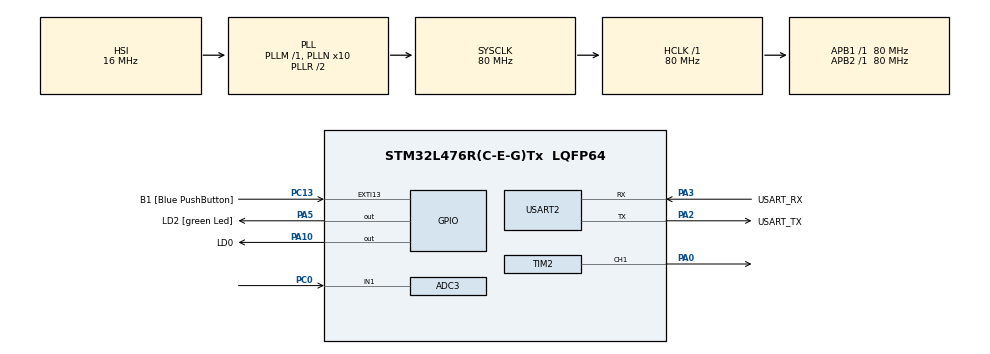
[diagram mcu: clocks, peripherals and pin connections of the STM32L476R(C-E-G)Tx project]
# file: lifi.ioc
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ADC3.Channel-0\#ChannelRegularConversion=ADC_CHANNEL_1
ADC3.NbrOfConversionFlag=1
ADC3.OffsetNumber-0\#ChannelRegularConversion=ADC_OFFSET_NONE
ADC3.Rank-0\#ChannelRegularConversion=1
ADC3.SamplingTime-0\#ChannelRegularConversion=ADC_SAMPLETIME_2CYCLES_5
Dma.Request0=USART2_TX
Dma.USART2_TX.0.Direction=DMA_MEMORY_TO_PERIPH
Dma.USART2_TX.0.Instance=DMA1_Channel7
Dma.USART2_TX.0.MemDataAlignment=DMA_MDATAALIGN_BYTE
Dma.USART2_TX.0.MemInc=DMA_MINC_ENABLE
Dma.USART2_TX.0.Mode=DMA_CIRCULAR
Dma.USART2_TX.0.PeriphDataAlignment=DMA_PDATAALIGN_BYTE
Dma.USART2_TX.0.PeriphInc=DMA_PINC_DISABLE
Dma.USART2_TX.0.Priority=DMA_PRIORITY_LOW
Mcu.Family=STM32L4
Mcu.Name=STM32L476R(C-E-G)Tx
Mcu.Package=LQFP64
NVIC.ADC3_IRQn=true\:0\:0\:false\:false\:true\:true\:true\:true
NVIC.DMA1_Channel7_IRQn=true\:0\:0\:false\:false\:true\:false\:true\:true
NVIC.PriorityGroup=NVIC_PRIORITYGROUP_4
NVIC.TIM2_IRQn=true\:0\:0\:false\:false\:true\:true\:true\:true
NVIC.USART2_IRQn=true\:0\:0\:false\:false\:true\:true\:true\:true
PA0.Signal=S_TIM2_CH1
PA10.GPIO_Label=LD0
PA10.Signal=GPIO_Output
PA13\ (JTMS-SWDIO).GPIO_Label=TMS
PA13\ (JTMS-SWDIO).Mode=Serial_Wire
PA13\ (JTMS-SWDIO).Signal=SYS_JTMS-SWDIO
PA14\ (JTCK-SWCLK).GPIO_Label=TCK
PA14\ (JTCK-SWCLK).Mode=Serial_Wire
PA14\ (JTCK-SWCLK).Signal=SYS_JTCK-SWCLK
PA2.GPIO_Label=USART_TX
PA2.GPIO_Mode=GPIO_MODE_AF_PP
PA2.GPIO_PuPd=GPIO_NOPULL
PA2.GPIO_Speed=GPIO_SPEED_FREQ_VERY_HIGH
PA2.Mode=Asynchronous
PA2.Signal=USART2_TX
PA3.GPIO_Label=USART_RX
PA3.GPIO_Mode=GPIO_MODE_AF_PP
PA3.GPIO_PuPd=GPIO_NOPULL
PA3.GPIO_Speed=GPIO_SPEED_FREQ_VERY_HIGH
PA3.Mode=Asynchronous
PA3.Signal=USART2_RX
PA5.GPIO_Label=LD2 [green Led]
PA5.GPIO_ModeDefaultOutputPP=GPIO_MODE_OUTPUT_PP
PA5.GPIO_PuPd=GPIO_NOPULL
PA5.GPIO_Speed=GPIO_SPEED_FREQ_LOW
PA5.Signal=GPIO_Output
PB3\ (JTDO-TRACESWO).GPIO_Label=SWO
PB3\ (JTDO-TRACESWO).Signal=SYS_JTDO-SWO
PC0.Signal=ADCx_IN1
PC13.GPIO_Label=B1 [Blue PushButton]
PC13.GPIO_ModeDefaultEXTI=GPIO_MODE_IT_FALLING
PC13.GPIO_PuPd=GPIO_NOPULL
PC13.Signal=GPXTI13
PC14-OSC32_IN\ (PC14).Mode=LSE-External-Oscillator
PC14-OSC32_IN\ (PC14).Signal=RCC_OSC32_IN
PC15-OSC32_OUT\ (PC15).Mode=LSE-External-Oscillator
PC15-OSC32_OUT\ (PC15).Signal=RCC_OSC32_OUT
PH0-OSC_IN\ (PH0).Mode=HSE-External-Oscillator
PH0-OSC_IN\ (PH0).Signal=RCC_OSC_IN
PH1-OSC_OUT\ (PH1).Mode=HSE-External-Oscillator
PH1-OSC_OUT\ (PH1).Signal=RCC_OSC_OUT
ProjectManager.HeapSize=0x200
ProjectManager.StackSize=0x400
ProjectManager.TargetToolchain=Makefile
RCC.ADCFreq_Value=64000000
RCC.AHBFreq_Value=80000000
RCC.APB1Freq_Value=80000000
RCC.APB1TimFreq_Value=80000000
RCC.APB2Freq_Value=80000000
RCC.APB2TimFreq_Value=80000000
RCC.CortexFreq_Value=80000000
RCC.HCLKFreq_Value=80000000
RCC.HSE_VALUE=8000000
RCC.HSI_VALUE=16000000
RCC.MSI_VALUE=4000000
RCC.PLLN=10
RCC.PLLSourceVirtual=RCC_PLLSOURCE_HSI
RCC.PREFETCH_ENABLE=1
RCC.SYSCLKFreq_VALUE=80000000
RCC.SYSCLKSource=RCC_SYSCLKSOURCE_PLLCLK
RCC.USBFreq_Value=64000000
RCC.VCOOutputFreq_Value=160000000
SH.ADCx_IN1.0=ADC3_IN1,IN1-Single-Ended
SH.S_TIM2_CH1.0=TIM2_CH1,PWM Generation1 CH1
TIM2.Channel-PWM\ Generation1\ CH1=TIM_CHANNEL_1
TIM2.Period=249
TIM2.Prescaler=79
TIM2.Pulse-PWM\ Generation1\ CH1=0
USART2.VirtualMode-Asynchronous=VM_ASYNC
VP_TIM2_VS_ClockSourceINT.Mode=Internal
board=NUCLEO-L476RG

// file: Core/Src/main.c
/* USER CODE BEGIN Header */
/**
  ******************************************************************************
  * @file           : main.c
  * @brief          : Main program body
  ******************************************************************************
  * @attention
  *
  * Copyright (c) 2022 STMicroelectronics.
  * All rights reserved.
  *
  * This software is licensed under terms that can be found in the LICENSE file
  * in the root directory of this software component.
  * If no LICENSE file comes with this software, it is provided AS-IS.
  *
  ******************************************************************************
  */
/* USER CODE END Header */
#include "main.h"
#include "adc.h"
#include "dma.h"
#include "tim.h"
#include "usart.h"
#include "gpio.h"

/* USER CODE BEGIN Includes */
#include <stdio.h>
/* USER CODE END Includes */

/* USER CODE BEGIN PM */
/*
#define CARRIER_FREQ 2000.0
#define CARRIER_PERIOD (1.0 / CARRIER_FREQ)
#define CARRIER_HALF_PERIOD (CARRIER_PERIOD / 2.0)
#define CARRIER_FREQ_AMP 666.6
#define INPUT_AMP 1.0
#define CVF (CARRIER_FREQ_AMP / INPUT_AMP)
#define LIGHT_TH 2850
*/
/* USER CODE END PM */

/* USER CODE BEGIN PV */
uint8_t queue[QUESIZ];
uint32_t qfront, qback;

uint8_t recvbuf[RECVSIZ];
uint8_t recvtmp[RECVSIZ+4];
uint32_t recvidx;

uint8_t uartbuf[12];
uint32_t uart_byte_cnt = 0;
/* USER CODE END PV */

void SystemClock_Config(void);
/* USER CODE BEGIN PFP */
void delay_us(uint32_t us)
{
  __HAL_TIM_SET_COUNTER(&htim2, 0);
  while (__HAL_TIM_GET_COUNTER(&htim2) < us);
}
/* USER CODE END PFP */

/* USER CODE BEGIN 0 */
void recv2uart() {
  // HAL_UART_Transmit_IT(&huart2, "recv2uart\r\n", sizeof("recv2uart\r\n"));
  // HAL_Delay(1000);
  char buf[1024] = {0};
  char *p = buf;
  for (int i = 0; i < recvidx; i++) {
    p += sprintf(p, " %02x", recvbuf[i]);
  }
  p += sprintf(p, "\r\n");
  HAL_UART_Transmit_IT(&huart2, (uint8_t*)buf, sizeof(buf));
  recvidx = 0;
}

void data_init() {
  for (int i = 0; i < 256; i++) {
    // push data to queue
    // frame start
    queue[qback++] = FRMBEGIN1;
    queue[qback++] = FRMBEGIN2;

    // data
    for (int j = 0; j < 8; j++) {
      queue[qback++] = 0x01;
      queue[qback++] = 0x23;
      queue[qback++] = 0x45;
      queue[qback++] = 0x67;
      queue[qback++] = 0x89;
      queue[qback++] = 0xAB;
      queue[qback++] = 0xCD;
      queue[qback++] = 0xEF;
    }

    // frame end
    queue[qback++] = FRMEND1;
    queue[qback++] = FRMEND2;

    queue[qback++] = 0x00;
    queue[qback++] = 0x00;
    queue[qback++] = 0x00;
    queue[qback++] = 0x00;
  }

  // redundancy
  queue[qback++] = 0x00;
  queue[qback++] = 0x00;
}
/* USER CODE END 0 */

int main(void)
{

  /* MCU Configuration--------------------------------------------------------*/

  /* Reset of all peripherals, Initializes the Flash interface and the Systick. */
  HAL_Init();

  /* Configure the system clock */
  SystemClock_Config();

  /* Initialize all configured peripherals */
  MX_GPIO_Init();
  MX_USART2_UART_Init();
  MX_DMA_Init();
  MX_TIM2_Init();
  MX_ADC3_Init();
  /* USER CODE BEGIN 2 */
  LD0_GPIO_Port->ODR |= (LD0_Pin);
  // LD2_GPIO_Port->ODR |= (LD2_Pin);
  // HAL_UART_Transmit_IT(&huart2, "hello\r\n", sizeof("hello\r\n"));

  recvidx = 0;
  /*
  recvbuf[recvidx++] = 0x12;
  recvbuf[recvidx++] = 0x34;
  recvbuf[recvidx++] = 0x56;
  recvbuf[recvidx++] = 0x78;
  */
  recv2uart();

  // data_init();

  HAL_Delay(2000);

  queue[qback++] = FRMBEGIN1;
  queue[qback++] = FRMBEGIN2;
  while (uart_byte_cnt < 14400)
    HAL_UART_Receive_IT(&huart2, uartbuf, sizeof(uartbuf));
  queue[qback++] = FRMEND1;
  queue[qback++] = FRMEND2;
  queue[qback++] = 0x00;
  queue[qback++] = 0x00;

  HAL_TIM_PWM_Start(&htim2, TIM_CHANNEL_1);
  HAL_TIM_Base_Start_IT(&htim2);

  /* USER CODE END 2 */

  /* Infinite loop */
  for (;;) {

    /* USER CODE BEGIN 3 */
    HAL_ADC_Start_IT(&hadc3);
  }
  /* USER CODE END 3 */
}

void SystemClock_Config(void)
{
  RCC_OscInitTypeDef RCC_OscInitStruct = {0};
  RCC_ClkInitTypeDef RCC_ClkInitStruct = {0};

  /** Configure the main internal regulator output voltage
  */
  if (HAL_PWREx_ControlVoltageScaling(PWR_REGULATOR_VOLTAGE_SCALE1) != HAL_OK)
  {
    Error_Handler();
  }

  /** Initializes the RCC Oscillators according to the specified parameters
  * in the RCC_OscInitTypeDef structure.
  */
  RCC_OscInitStruct.OscillatorType = RCC_OSCILLATORTYPE_HSI;
  RCC_OscInitStruct.HSIState = RCC_HSI_ON;
  RCC_OscInitStruct.HSICalibrationValue = RCC_HSICALIBRATION_DEFAULT;
  RCC_OscInitStruct.PLL.PLLState = RCC_PLL_ON;
  RCC_OscInitStruct.PLL.PLLSource = RCC_PLLSOURCE_HSI;
  RCC_OscInitStruct.PLL.PLLM = 1;
  RCC_OscInitStruct.PLL.PLLN = 10;
  RCC_OscInitStruct.PLL.PLLP = RCC_PLLP_DIV7;
  RCC_OscInitStruct.PLL.PLLQ = RCC_PLLQ_DIV2;
  RCC_OscInitStruct.PLL.PLLR = RCC_PLLR_DIV2;
  if (HAL_RCC_OscConfig(&RCC_OscInitStruct) != HAL_OK)
  {
    Error_Handler();
  }

  /** Initializes the CPU, AHB and APB buses clocks
  */
  RCC_ClkInitStruct.ClockType = RCC_CLOCKTYPE_HCLK|RCC_CLOCKTYPE_SYSCLK
                              |RCC_CLOCKTYPE_PCLK1|RCC_CLOCKTYPE_PCLK2;
  RCC_ClkInitStruct.SYSCLKSource = RCC_SYSCLKSOURCE_PLLCLK;
  RCC_ClkInitStruct.AHBCLKDivider = RCC_SYSCLK_DIV1;
  RCC_ClkInitStruct.APB1CLKDivider = RCC_HCLK_DIV1;
  RCC_ClkInitStruct.APB2CLKDivider = RCC_HCLK_DIV1;

  if (HAL_RCC_ClockConfig(&RCC_ClkInitStruct, FLASH_LATENCY_4) != HAL_OK)
  {
    Error_Handler();
  }
}

void Error_Handler(void)
{
  __disable_irq();
  while (1)
  {
  }
}
